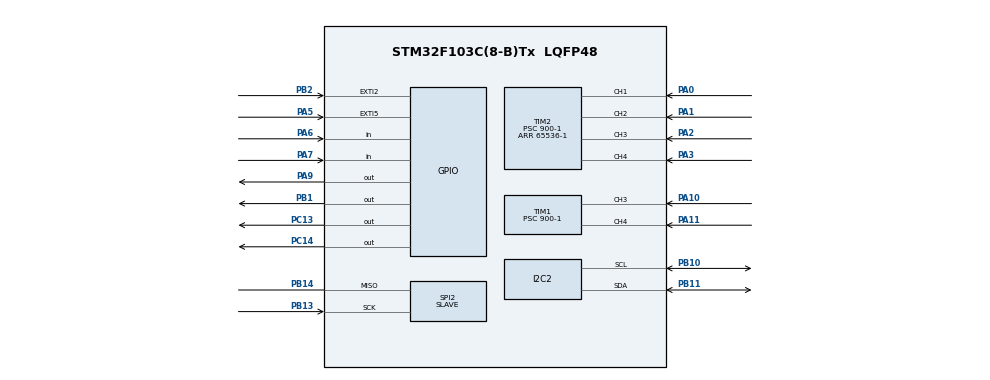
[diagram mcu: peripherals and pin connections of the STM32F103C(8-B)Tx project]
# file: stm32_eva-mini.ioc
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Mcu.Family=STM32F1
Mcu.Name=STM32F103C(8-B)Tx
Mcu.Package=LQFP48
NVIC.PriorityGroup=NVIC_PRIORITYGROUP_4
NVIC.SPI2_IRQn=true\:0\:0\:false\:false\:true\:true\:true\:true
NVIC.TIM1_CC_IRQn=true\:0\:0\:false\:false\:true\:true\:true\:true
NVIC.TIM2_IRQn=true\:0\:0\:false\:false\:true\:true\:true\:true
NVIC.TIM3_IRQn=true\:0\:0\:false\:false\:true\:true\:true\:true
NVIC.TIM4_IRQn=true\:0\:0\:false\:false\:true\:true\:true\:true
PA0-WKUP.Signal=S_TIM2_CH1_ETR
PA1.Signal=S_TIM2_CH2
PA10.Signal=S_TIM1_CH3
PA11.Signal=S_TIM1_CH4
PA13.Mode=Serial_Wire
PA13.Signal=SYS_JTMS-SWDIO
PA14.Mode=Serial_Wire
PA14.Signal=SYS_JTCK-SWCLK
PA2.Signal=S_TIM2_CH3
PA3.Signal=S_TIM2_CH4
PA5.Signal=GPXTI5
PA6.Signal=GPIO_Input
PA7.Signal=GPIO_Input
PA9.Signal=GPIO_Output
PB1.Signal=GPIO_Output
PB10.Mode=I2C
PB10.Signal=I2C2_SCL
PB11.Mode=I2C
PB11.Signal=I2C2_SDA
PB13.Mode=Simplex_Bidirectional_Slave
PB13.Signal=SPI2_SCK
PB14.Mode=Simplex_Bidirectional_Slave
PB14.Signal=SPI2_MISO
PB2.Signal=GPXTI2
PC13-TAMPER-RTC.Signal=GPIO_Output
PC14-OSC32_IN.Signal=GPIO_Output
PD0-OSC_IN.Mode=HSE-External-Oscillator
PD0-OSC_IN.Signal=RCC_OSC_IN
PD1-OSC_OUT.Mode=HSE-External-Oscillator
PD1-OSC_OUT.Signal=RCC_OSC_OUT
ProjectManager.HeapSize=0x200
ProjectManager.StackSize=0x400
ProjectManager.TargetToolchain=MDK-ARM V5.32
RCC.AHBFreq_Value=72000000
RCC.APB1CLKDivider=RCC_HCLK_DIV2
RCC.APB1Freq_Value=36000000
RCC.APB1TimFreq_Value=72000000
RCC.APB2Freq_Value=72000000
RCC.APB2TimFreq_Value=72000000
RCC.HCLKFreq_Value=72000000
RCC.PLLMUL=RCC_PLL_MUL9
RCC.PLLSourceVirtual=RCC_PLLSOURCE_HSE
RCC.SYSCLKFreq_VALUE=72000000
RCC.SYSCLKSource=RCC_SYSCLKSOURCE_PLLCLK
RCC.USBFreq_Value=72000000
SH.S_TIM1_CH3.0=TIM1_CH3,Input_Capture3_from_TI3
SH.S_TIM1_CH4.0=TIM1_CH4,Input_Capture4_from_TI4
SH.S_TIM2_CH1_ETR.0=TIM2_CH1,Input_Capture1_from_TI1
SH.S_TIM2_CH2.0=TIM2_CH2,Input_Capture2_from_TI2
SH.S_TIM2_CH3.0=TIM2_CH3,Input_Capture3_from_TI3
SH.S_TIM2_CH4.0=TIM2_CH4,Input_Capture4_from_TI4
SPI2.Direction=SPI_DIRECTION_1LINE
SPI2.Mode=SPI_MODE_SLAVE
SPI2.VirtualType=VM_SLAVE
TIM1.Channel-Input_Capture3_from_TI3=TIM_CHANNEL_3
TIM1.Channel-Input_Capture4_from_TI4=TIM_CHANNEL_4
TIM1.Period=65536-1
TIM1.Prescaler=900-1
TIM2.Channel-Input_Capture1_from_TI1=TIM_CHANNEL_1
TIM2.Channel-Input_Capture2_from_TI2=TIM_CHANNEL_2
TIM2.Channel-Input_Capture3_from_TI3=TIM_CHANNEL_3
TIM2.Channel-Input_Capture4_from_TI4=TIM_CHANNEL_4
TIM2.Period=65536-1
TIM2.Prescaler=900-1
TIM3.Period=65536-1
TIM3.Prescaler=900-1
TIM4.Period=30000-1
TIM4.Prescaler=24-1
VP_TIM1_VS_ClockSourceINT.Mode=Internal
VP_TIM2_VS_ClockSourceINT.Mode=Internal
VP_TIM3_VS_ClockSourceINT.Mode=Internal
VP_TIM4_VS_ClockSourceINT.Mode=Internal
board=custom

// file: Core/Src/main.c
/* USER CODE BEGIN Header */
/**
  ******************************************************************************
  * @file           : main.c
  * @brief          : Main program body
  ******************************************************************************
  * @attention
  *
  * Copyright (c) 2025 STMicroelectronics.
  * All rights reserved.
  *
  * This software is licensed under terms that can be found in the LICENSE file
  * in the root directory of this software component.
  * If no LICENSE file comes with this software, it is provided AS-IS.
  *
  ******************************************************************************
  */
/* USER CODE END Header */
#include "main.h"

/* USER CODE BEGIN PV */

// General utilities
volatile uint64_t sys_timer = 0;

// Frequency calculation
volatile uint32_t IC_Array32[IC_ARRAY32_SIZE][SENSOR_COUNT_MAX] = {{0}, {0}, {0}};
volatile uint8_t IC_Array8[IC_ARRAY8_SIZE][SENSOR_COUNT_MAX] = {{1}, {1}, {1}, {1}}; // Initialize the 'initial' pos (IC_ARRAY8_POS_CAPTURE_INITIAL) as true

float sensor_frequency[SENSOR_COUNT_MAX] = {0};
uint64_t sensor_last_check_time[SENSOR_COUNT_MAX] = {0};

SENSADDR_TIM_TypeDef* sensor_address_timer[SENSOR_COUNT_MAX] = {
	&(SENSADDR_TIM_TypeDef){TIM2, 3},
	&(SENSADDR_TIM_TypeDef){TIM1, 3},
	&(SENSADDR_TIM_TypeDef){TIM1, 4},
	NULL,
	NULL
};

SENSADDR_GPIO_TypeDef* sensor_address_gpio[SENSOR_COUNT_MAX] = {
	NULL,
	NULL,
	NULL,
	&(SENSADDR_GPIO_TypeDef){GPIOA, LL_GPIO_PIN_6},
	&(SENSADDR_GPIO_TypeDef){GPIOA, LL_GPIO_PIN_7}
};

// MCP23008
uint8_t mcp23_check_required = false, mcp23_check_allowed = false, mcp23_check_result_output, mcp23_check_result_input, mcp23_check_result_success;
uint64_t mcp23_last_check_time = 0;

uint8_t mcp_off_button_counter = 0;
uint64_t mcp_off_button_time = 0;

// CAN
uint8_t can_last_send_success = false, can_should_stop_motor = false;
uint64_t can_last_send_time = 0, can_test_initialization_time = 0;

// UI/Logic
UI_Screen main_screen = {0};
uint8_t main_ui_on = false, ui_update_required = false;
uint8_t switch_to_start_menu_allowed = false, currently_on_start_menu = false;
uint64_t ui_last_update_time = 0, ui_last_callback_time = 0;

Logic_State_Type curr_logic_state = LSTATE_NONE;
uint64_t main_logic_last_tick_time = 0;

uint8_t user_params_differentiate = false;
uint32_t user_params_array[USER_PARAMS_COUNT] = {0};
uint64_t user_params_last_save_time = 0;

uint8_t current_state_seeder_down = false, current_state_bunker_full = false;
float current_can_motor_speed = 0, current_actual_motor_speed = 0, current_fan_speed = 0, current_seeder_speed = 0, current_quota = 0;

uint8_t error_notification_beep_counter[ERROR_COUNT_TOTAL] = {0};
uint8_t error_state_array[ERROR_STATE_ARRAY_COUNT][ERROR_COUNT_TOTAL] = {{0}, {0}, {0}, {0}};
uint64_t error_last_activation_change[ERROR_COUNT_TOTAL] = {0}, error_notification_start_end[ERROR_COUNT_TOTAL] = {0}, error_on_time[ERROR_COUNT_TOTAL] = {0};

// Resources
uint8_t logo_ok_mark[LOGO_OK_MARK_SIZE] = {
	0x1C, 0x00,
  0x22, 0x00,
  0x41, 0x00,
  0xA0, 0x80,
  0xA0, 0x80,
  0x92, 0x80,
  0x94, 0x80,
  0x49, 0x00,
  0x22, 0x00,
  0x1C, 0x00
};

uint8_t logo_question_mark[LOGO_QUESTION_MARK_SIZE] = {
  0xFF, 0x80,
  0x80, 0x80,
  0x9C, 0x80,
  0xA2, 0x80,
  0x84, 0x80,
  0x88, 0x80,
  0x80, 0x80,
  0x88, 0x80,
  0x80, 0x80,
  0xFF, 0x80
};

uint8_t logo_error_alert[LOGO_ERROR_ALERT_SIZE] = {
	0x08, 0x00,
  0x14, 0x00,
  0x14, 0x00,
  0x2A, 0x00,
  0x2A, 0x00,
  0x49, 0x00,
  0x41, 0x00,
  0x88, 0x80,
  0x80, 0x80,
  0xFF, 0x80
};

uint8_t logo_seeder_state[LOGO_SEEDER_STATE_SIZE] = {
	0x1F,
  0x1F,
  0x1F,
  0x0F,
  0x06,
  0x68,
  0x90,
  0x90,
  0x60
};

/* USER CODE END PV */

void SystemClock_Config(void);
static void MX_GPIO_Init(void);
static void MX_I2C2_Init(void);
static void MX_SPI2_Init(void);
static void MX_TIM1_Init(void);
static void MX_TIM2_Init(void);
static void MX_TIM3_Init(void);
static void MX_TIM4_Init(void);

/* USER CODE BEGIN 0 */

void setCurrentLogicState(Logic_State_Type new_state)
{
	if (curr_logic_state != new_state)
	{
		switch(new_state)
		{
			case LSTATE_CAN_TEST: case LSTATE_CAN_PROCEDURE:
				switch_to_start_menu_allowed = false;
				can_test_initialization_time = sys_timer;
				break;
			case LSTATE_MAIN_LOGIC:
				switch_to_start_menu_allowed = true;
				break;
			case LSTATE_NONE:
				can_should_stop_motor = (current_can_motor_speed != 0) || (curr_logic_state == LSTATE_CAN_TEST);
				break;
		}
	}
	curr_logic_state = new_state;
}

void updateErrorState(uint8_t state_pos, uint8_t error_pos, uint8_t value)
{
	if (state_pos >= ERROR_STATE_ARRAY_COUNT || error_pos >= ERROR_COUNT_TOTAL) return;

	if (value && !error_state_array[state_pos][error_pos])
	{
		switch(state_pos)
		{
			case ERROR_STATE_ACTIVE:
				error_on_time[error_pos] = sys_timer; // No break by design
			case ERROR_STATE_PREACTIVE:
				error_last_activation_change[error_pos] = sys_timer; break;
			case ERROR_NOTIFICATION_IN_PROGRESS: case ERROR_NOTIFICATION_COMPLETE:
				error_notification_start_end[error_pos] = sys_timer; error_notification_beep_counter[error_pos] = 0; break;
		}
	}

	error_state_array[state_pos][error_pos] = value;
}

void sendCANPackage(float speed, uint8_t direction)
{
	uint8_t whole_part = floor(speed), fractional_part = round((speed - whole_part)*10); // 1 digit after the dot
	if (fractional_part % 10 != fractional_part)
	{
		fractional_part %= 10;
		whole_part += 1;
	}

	uint8_t speedData[2];
	parseMotorSpeed(direction, fractional_part, whole_part, speedData);

	uint8_t msg[8] = {0};
	setMotorControl(speedData, 0x01700002, msg);

	uint8_t ok = LL_CAN_Send(MOTOR_CAN_ID, msg, true);
	if (ok)
	{
		can_last_send_time = sys_timer;
	}
}

void sequence_turnDisplayOn(uint8_t on)
{
	display_invert(false);
	if (on)
	{
		LL_mDelay(1000);

		gfx_clearBuffer();
		gfx_setTextSize(2);
		gfx_setTextColor(WHITE, WHITE);
		gfx_setCursor(46,24);
		gfx_print("TTZ");
		display_update();
		LL_mDelay(1000);

		gfx_clearBuffer();
		gfx_setTextSize(1);
		gfx_setTextColor(WHITE, WHITE);
		gfx_setCursor(16,20);
		char converted_string[UI_ELEMENT_MAX_CHAR_COUNT] = {0};
		utf8rus("Система контроля", converted_string);
		gfx_print(converted_string);
		gfx_setCursor(40,36);
		gfx_print("Eva-Mini");
		display_update();
		LL_mDelay(1500);

		gfx_clearBuffer();
		UI_BuildStartMenu(&main_screen);
		display_buildUIScreen(&main_screen);

		LL_GPIO_SetOutputPin(SENSOR_POWER_PORT, SENSOR_POWER_PIN); // Turn on the sensors
	}
	else
	{
		ui_clearScreen(&main_screen);
		gfx_clearBuffer();
		display_update();

		LL_GPIO_ResetOutputPin(SENSOR_POWER_PORT, SENSOR_POWER_PIN); // Turn off the sensors
		setCurrentLogicState(LSTATE_NONE);
	}
	main_ui_on = on;
}

/* USER CODE END 0 */

int main(void)
{

  /* MCU Configuration--------------------------------------------------------*/

  /* Reset of all peripherals, Initializes the Flash interface and the Systick. */
  LL_APB2_GRP1_EnableClock(LL_APB2_GRP1_PERIPH_AFIO);
  LL_APB1_GRP1_EnableClock(LL_APB1_GRP1_PERIPH_PWR);

  /* System interrupt init*/
  NVIC_SetPriorityGrouping(NVIC_PRIORITYGROUP_4);

  /* SysTick_IRQn interrupt configuration */
  NVIC_SetPriority(SysTick_IRQn, NVIC_EncodePriority(NVIC_GetPriorityGrouping(),0, 0));

  /** NOJTAG: JTAG-DP Disabled and SW-DP Enabled
  */
  LL_GPIO_AF_Remap_SWJ_NOJTAG();

  /* Configure the system clock */
  SystemClock_Config();

  /* USER CODE BEGIN SysInit */
	SystemCoreClockUpdate();
	LL_Init1msTick(SystemCoreClock);
	LL_SYSTICK_EnableIT();

  /* USER CODE END SysInit */

  /* Initialize all configured peripherals */
  MX_GPIO_Init();
  MX_I2C2_Init();
  MX_SPI2_Init();
  MX_TIM1_Init();
  MX_TIM2_Init();
  MX_TIM3_Init();
  MX_TIM4_Init();
  /* USER CODE BEGIN 2 */

  LL_TIM_EnableIT_UPDATE(TIM1);
  LL_TIM_EnableCounter(TIM1);

  LL_TIM_EnableIT_UPDATE(TIM2);
  LL_TIM_EnableCounter(TIM2);

  LL_TIM_EnableIT_UPDATE(TIM3);
  LL_TIM_EnableCounter(TIM3);

	for (uint8_t i = 0; i < SENSOR_COUNT_MAX; i++)
	{
		if (!((1 << i) & SENSADDR_MASK_TIMS)) continue;
		SENSADDR_TIM_TypeDef* timer_address = sensor_address_timer[i];

		if (timer_address == NULL) continue;
		switch(timer_address->channel)
		{
			case 1:
        LL_TIM_CC_EnableChannel(timer_address->timer, LL_TIM_CHANNEL_CH1);
        LL_TIM_EnableIT_CC1(timer_address->timer);
        break;
			case 2:
        LL_TIM_CC_EnableChannel(timer_address->timer, LL_TIM_CHANNEL_CH2);
        LL_TIM_EnableIT_CC2(timer_address->timer);
        break;
			case 3:
        LL_TIM_CC_EnableChannel(timer_address->timer, LL_TIM_CHANNEL_CH3);
        LL_TIM_EnableIT_CC3(timer_address->timer);
        break;
			case 4:
        LL_TIM_CC_EnableChannel(timer_address->timer, LL_TIM_CHANNEL_CH4);
        LL_TIM_EnableIT_CC4(timer_address->timer);
        break;
		}
	}

	LL_TIM_EnableIT_UPDATE(TIM4);
  LL_TIM_EnableCounter(TIM4);

	ssd1325_begin_default();
	sequence_turnDisplayOn(false);

	LL_CAN_Init(true);
	NVIC_SetPriority(USB_HP_CAN1_TX_IRQn, NVIC_EncodePriority(NVIC_GetPriorityGrouping(),10, 0));
	NVIC_SetPriority(CAN1_SCE_IRQn, NVIC_EncodePriority(NVIC_GetPriorityGrouping(),10, 0));
	NVIC_EnableIRQ(USB_HP_CAN1_TX_IRQn);
	NVIC_EnableIRQ(CAN1_SCE_IRQn);

	LL_I2C_Enable(MCP23008_I2C);
	mcp23008_write_register(MCP23008_REG_IODIR, MCP23008_PINS_SETUP);
	mcp23008_write_register(MCP23008_REG_GPPU, MCP23008_PINS_SETUP);
	mcp23008_write_register(MCP23008_REG_GPINTEN, MCP23008_PINS_SETUP);
	mcp23008_write_register(MCP23008_REG_INTCON, MCP23008_PINS_SETUP);
	mcp23008_write_register(MCP23008_REG_DEFVAL, MCP23008_PINS_SETUP);

	LL_GPIO_ResetOutputPin(GPIOC, LL_GPIO_PIN_13);
	LL_mDelay(100);
	LL_GPIO_SetOutputPin(GPIOC, LL_GPIO_PIN_13);
	LL_mDelay(100);
	LL_GPIO_ResetOutputPin(GPIOC, LL_GPIO_PIN_13);
	LL_mDelay(100);
	LL_GPIO_SetOutputPin(GPIOC, LL_GPIO_PIN_13);
	LL_mDelay(100);
	LL_GPIO_ResetOutputPin(GPIOC, LL_GPIO_PIN_13);
	LL_mDelay(100);
	LL_GPIO_SetOutputPin(GPIOC, LL_GPIO_PIN_13);

	mcp23008_read_register(MCP23008_REG_GPIO);
	NVIC_SetPriority(EXTI2_IRQn, NVIC_EncodePriority(NVIC_GetPriorityGrouping(),10, 0));
	NVIC_EnableIRQ(EXTI2_IRQn);

	restore_user_params_batch();

  /* USER CODE END 2 */

  /* Infinite loop */
  /* USER CODE BEGIN WHILE */
  while (1)
  {
		switch(curr_logic_state)
		{
			case LSTATE_MAIN_LOGIC:
			{
				for (uint8_t sensor_num = 0; sensor_num < SENSOR_COUNT_MAX; sensor_num++)
				{
					if (SENSADDR_MASK_TIMS & (1 << sensor_num))
					{
						if (IC_Array8[IC_ARRAY8_POS_CAPTURE_ERROR][sensor_num] == false && IC_Array8[IC_ARRAY8_POS_CAPTURE_COMPLETE][sensor_num] == true)
						{
							sensor_frequency[sensor_num] = calculate_frequency(sensor_num);
							sensor_last_check_time[sensor_num] = sys_timer;
						}
						else if (sys_timer - sensor_last_check_time[sensor_num] >= SENSOR_VALUE_LOST_TIME)
						{
							sensor_frequency[sensor_num] = 0;
						}
					}
				}

				if (sys_timer - main_logic_last_tick_time >= MAIN_LOGIC_TICK_TIME)
				{
					main_logic_last_tick_time = sys_timer;

					float user_speed_min = getUserParameterFloat(USER_PARAM_SPEED_MIN), user_speed_max = getUserParameterFloat(USER_PARAM_SPEED_MAX),
								current_user_area_session = getUserParameterFloat(USER_PARAM_AREA_SESSION), current_user_area_total = getUserParameterFloat(USER_PARAM_AREA_TOTAL);
					uint32_t user_wheel_diameter = getUserParameterInt(USER_PARAM_WHEEL_DIAMETER), user_wheel_pulses = getUserParameterInt(USER_PARAM_WHEEL_PULSES),
									 user_fan_speed_min = getUserParameterInt(USER_PARAM_FAN_SPEED_MIN), user_fan_speed_max = getUserParameterInt(USER_PARAM_FAN_SPEED_MAX),
									 user_fan_pulses = getUserParameterInt(USER_PARAM_FAN_PULSES), user_seeder_width = getUserParameterInt(USER_PARAM_SEEDER_WIDTH),
									 user_quota = getUserParameterInt(USER_PARAM_QUOTA), user_mass_per_turn = getUserParameterInt(USER_PARAM_MASS_PER_TURN);

					SENSADDR_GPIO_TypeDef *seeder_sensor_addr = sensor_address_gpio[SENSADDR_POS_SEEDER], *bunker_sensor_addr = sensor_address_gpio[SENSADDR_POS_BUNKER];
					uint8_t bunker_sensor_output = LL_GPIO_IsInputPinSet(bunker_sensor_addr->port, bunker_sensor_addr->pin_mask), seeder_sensor_output = LL_GPIO_IsInputPinSet(seeder_sensor_addr->port, seeder_sensor_addr->pin_mask);
					// Each sensor goes through an optocoupler (with a pull up on the MCU's side), so the logic is inversed
					current_state_seeder_down = (SENSOR_TYPE_SEEDER_NPN)? seeder_sensor_output : !seeder_sensor_output;
					current_state_bunker_full = (SENSOR_TYPE_BUNKER_NPN)? bunker_sensor_output : !bunker_sensor_output;

					float prev_seeder_speed = current_seeder_speed;

					current_fan_speed = calculateFanSpeed_fromSensorOutput(user_fan_pulses, sensor_frequency[SENSADDR_POS_FAN]);
					current_seeder_speed = calculateSeederSpeed_fromSensorOutput(user_wheel_diameter, user_wheel_pulses, sensor_frequency[SENSADDR_POS_SPEED]);

					current_actual_motor_speed = 0;
					current_quota = 0;
					if (current_state_seeder_down)
					{
						current_actual_motor_speed = sensor_frequency[SENSADDR_POS_MOTOR] * SECONDS_IN_MINUTE;

						float calculation_motor_speed = current_can_motor_speed;
						if (error_state_array[ERROR_STATE_ACTIVE][ERROR_TYPE_CAN])
						{
							calculation_motor_speed = 0;
						}

						if (!error_state_array[ERROR_STATE_ACTIVE][ERROR_TYPE_EMPTY])
						{
							current_quota = calculateQuota_fromSpeed(user_seeder_width, current_seeder_speed, user_mass_per_turn, calculation_motor_speed);
						}
					}

					// Main logic (if the setup was completed)
					if (checkIfSeederParamsAreSet() && checkIfOtherParamsAreSet())
					{
						updateErrorState(ERROR_STATE_PREACTIVE, ERROR_TYPE_EMPTY, !current_state_bunker_full);

						uint8_t fan_speed_check_ok = (current_fan_speed <= user_fan_speed_max && current_fan_speed >= user_fan_speed_min);
						updateErrorState(ERROR_STATE_PREACTIVE, ERROR_TYPE_FAN, !fan_speed_check_ok);

						if (current_state_seeder_down && (sys_timer - can_last_send_time) > CAN_TRANSMISSION_INTERVAL)
						{
							uint8_t motor_speed_check_ok = ( current_actual_motor_speed >= calculateMotorSpeed_fromSpeed(user_quota, user_seeder_width, user_mass_per_turn, SENSOR_VALUE_SPEED_BORDER_MIN) );
							updateErrorState(ERROR_STATE_PREACTIVE, ERROR_TYPE_MOTOR, !motor_speed_check_ok && !error_state_array[ERROR_STATE_ACTIVE][ERROR_TYPE_CAN]);

							uint8_t seeder_speed_check_ok = (current_seeder_speed <= user_speed_max && current_seeder_speed >= user_speed_min);
							current_can_motor_speed = calculateMotorSpeed_fromSpeed(user_quota, user_seeder_width, user_mass_per_turn, current_seeder_speed);
							if (!performMotorSpeedCheck(current_can_motor_speed))
							{
								current_can_motor_speed = (current_can_motor_speed > MOTOR_SPEED_LIMIT_MAX) ? MOTOR_SPEED_LIMIT_MAX : MOTOR_SPEED_LIMIT_MIN;
							}
							updateErrorState(ERROR_STATE_PREACTIVE, ERROR_TYPE_SPEED, !seeder_speed_check_ok);

							float low_border = (float)user_quota * (100 - SENSOR_VALUE_QUOTA_ALLOWED_DEVIATION)/100, high_border = (float)user_quota * (100 + SENSOR_VALUE_QUOTA_ALLOWED_DEVIATION)/100;
							uint8_t quota_check_ok = (current_quota >= low_border && current_quota <= high_border);
							updateErrorState(ERROR_STATE_PREACTIVE, ERROR_TYPE_QUOTA, !quota_check_ok);

							sendCANPackage(current_can_motor_speed, MOTOR_TURN_DIRECTION);
						}

						if (current_state_seeder_down)
						{
							float area_addition = calculateAreaAddition_fromSpeed(prev_seeder_speed, current_seeder_speed, MAIN_LOGIC_TICK_TIME, user_seeder_width);
							if (current_quota < user_quota)
							{
								area_addition *= current_quota / (float)user_quota;
							}

							if (area_addition != 0)
							{
								setUserParameterFloat(USER_PARAM_AREA_TOTAL, current_user_area_total + area_addition);
								setUserParameterFloat(USER_PARAM_AREA_SESSION, current_user_area_session + area_addition);
							}
						}
					}
				}
			}
			break;
			case LSTATE_CAN_PROCEDURE:
			{
				if ((sys_timer - can_last_send_time) > CAN_TRANSMISSION_INTERVAL)
				{
					sendCANPackage(current_can_motor_speed, MOTOR_TURN_DIRECTION);
				}
			}
			break;
			case LSTATE_CAN_TEST:
			{
				if ((sys_timer - can_last_send_time) > CAN_TRANSMISSION_INTERVAL)
				{
					if ((sys_timer - can_test_initialization_time) >= (SECONDS_IN_MINUTE * MILLIS_IN_SECOND / MOTOR_DEFAULT_SPEED_EMPTY))
					{
						setCurrentLogicState(LSTATE_NONE);
					}
					else
					{
						sendCANPackage(MOTOR_DEFAULT_SPEED_EMPTY, MOTOR_TURN_DIRECTION);
					}
				}
			}
			break;
			case LSTATE_NONE:
			{
				if (can_should_stop_motor && (sys_timer - can_last_send_time) > CAN_TRANSMISSION_INTERVAL)
				{
					current_can_motor_speed = 0;
					sendCANPackage(0, MOTOR_TURN_DIRECTION);
					can_should_stop_motor = false;
				}
				else if ((sys_timer - can_test_initialization_time) > 1 * MILLIS_IN_SECOND && (sys_timer - can_last_send_time) > 3 * MILLIS_IN_SECOND)
				{
					switch_to_start_menu_allowed = true;
				}
			}
			break;
		}

		if (mcp23_check_required && (sys_timer - mcp23_last_check_time) >= MCP23008_DEBOUNCE_WAIT_TIME)
		{
			mcp23008_matrix_check();
			if (mcp23_check_result_success)
			{
				uint8_t matrix_pos = mcp23_check_result_input * 10 + mcp23_check_result_output * 1;
				switch(matrix_pos)
				{
					case MATRIX_POS_BUTTON_DOWN:
						UI_PerformUserInteraction(&main_screen, PRESS_TYPE_DOWN);
						ui_update_required = true;
						break;
					case MATRIX_POS_BUTTON_UP:
						UI_PerformUserInteraction(&main_screen, PRESS_TYPE_UP);
						ui_update_required = true;
						break;
					case MATRIX_POS_BUTTON_OK:
						UI_PerformUserInteraction(&main_screen, PRESS_TYPE_OK);
						ui_update_required = true;
						break;
					case MATRIX_POS_BUTTON_MENU:
						if (switch_to_start_menu_allowed && !currently_on_start_menu)
						{
							UI_BuildStartMenu(&main_screen);
							ui_update_required = true;
						}
						break;
					case MATRIX_POS_BUTTON_POWER:
						if (!main_ui_on)
						{
							if (sys_timer - mcp_off_button_time >= 1 * MILLIS_IN_SECOND)
							{
								sequence_turnDisplayOn(true);
								mcp_off_button_counter = 0;
							}
						}
						else
						{
							if (sys_timer - mcp_off_button_time > (MCP23008_BUTTON_CHECK_TIME + 25))
							{
								mcp_off_button_counter = 0;
							}
							mcp_off_button_counter++;
							mcp_off_button_time = sys_timer;

							if (mcp_off_button_counter >= 10)
							{
								if (user_params_differentiate)
								{
									save_user_params_batch();
								}
								sequence_turnDisplayOn(false);
								mcp_off_button_counter = 0;
							}
						}
						break;
				}
			}
		}

    /* USER CODE END WHILE */

    /* USER CODE BEGIN 3 */
		if (!mcp23_check_allowed)
		{
			if ((sys_timer - mcp23_last_check_time) >= MCP23008_BUTTON_CHECK_TIME)
			{
				mcp23_check_allowed = true;
				mcp23008_read_register(MCP23008_REG_GPIO);
			}
		}

		if ( (sys_timer - ui_last_update_time) >= (1000 / UI_UPDATE_MAX_FREQUENCY) && ui_update_required && main_ui_on )
		{
			display_buildUIScreen(&main_screen);
			ui_update_required = false;
		}
  }
  /* USER CODE END 3 */
}

void SystemClock_Config(void)
{
  LL_FLASH_SetLatency(LL_FLASH_LATENCY_2);
  while(LL_FLASH_GetLatency()!= LL_FLASH_LATENCY_2)
  {
  }
  LL_RCC_HSE_Enable();

   /* Wait till HSE is ready */
  while(LL_RCC_HSE_IsReady() != 1)
  {

  }
  LL_RCC_PLL_ConfigDomain_SYS(LL_RCC_PLLSOURCE_HSE_DIV_1, LL_RCC_PLL_MUL_9);
  LL_RCC_PLL_Enable();

   /* Wait till PLL is ready */
  while(LL_RCC_PLL_IsReady() != 1)
  {

  }
  LL_RCC_SetAHBPrescaler(LL_RCC_SYSCLK_DIV_1);
  LL_RCC_SetAPB1Prescaler(LL_RCC_APB1_DIV_2);
  LL_RCC_SetAPB2Prescaler(LL_RCC_APB2_DIV_1);
  LL_RCC_SetSysClkSource(LL_RCC_SYS_CLKSOURCE_PLL);

   /* Wait till System clock is ready */
  while(LL_RCC_GetSysClkSource() != LL_RCC_SYS_CLKSOURCE_STATUS_PLL)
  {

  }
  LL_Init1msTick(72000000);
  LL_SetSystemCoreClock(72000000);
}

static void MX_I2C2_Init(void)
{

  LL_I2C_InitTypeDef I2C_InitStruct = {0};

  LL_GPIO_InitTypeDef GPIO_InitStruct = {0};

  LL_APB2_GRP1_EnableClock(LL_APB2_GRP1_PERIPH_GPIOB);
  /**I2C2 GPIO Configuration
  PB10   ------> I2C2_SCL
  PB11   ------> I2C2_SDA
  */
  GPIO_InitStruct.Pin = LL_GPIO_PIN_10|LL_GPIO_PIN_11;
  GPIO_InitStruct.Mode = LL_GPIO_MODE_ALTERNATE;
  GPIO_InitStruct.Speed = LL_GPIO_SPEED_FREQ_HIGH;
  GPIO_InitStruct.OutputType = LL_GPIO_OUTPUT_OPENDRAIN;
  LL_GPIO_Init(GPIOB, &GPIO_InitStruct);

  /* Peripheral clock enable */
  LL_APB1_GRP1_EnableClock(LL_APB1_GRP1_PERIPH_I2C2);

  /** I2C Initialization
  */
  LL_I2C_DisableOwnAddress2(I2C2);
  LL_I2C_DisableGeneralCall(I2C2);
  LL_I2C_EnableClockStretching(I2C2);
  I2C_InitStruct.PeripheralMode = LL_I2C_MODE_I2C;
  I2C_InitStruct.ClockSpeed = 100000;
  I2C_InitStruct.DutyCycle = LL_I2C_DUTYCYCLE_2;
  I2C_InitStruct.OwnAddress1 = 0;
  I2C_InitStruct.TypeAcknowledge = LL_I2C_ACK;
  I2C_InitStruct.OwnAddrSize = LL_I2C_OWNADDRESS1_7BIT;
  LL_I2C_Init(I2C2, &I2C_InitStruct);
  LL_I2C_SetOwnAddress2(I2C2, 0);

}

static void MX_SPI2_Init(void)
{

  LL_SPI_InitTypeDef SPI_InitStruct = {0};

  LL_GPIO_InitTypeDef GPIO_InitStruct = {0};

  /* Peripheral clock enable */
  LL_APB1_GRP1_EnableClock(LL_APB1_GRP1_PERIPH_SPI2);

  LL_APB2_GRP1_EnableClock(LL_APB2_GRP1_PERIPH_GPIOB);
  /**SPI2 GPIO Configuration
  PB13   ------> SPI2_SCK
  PB14   ------> SPI2_MISO
  */
  GPIO_InitStruct.Pin = LL_GPIO_PIN_13;
  GPIO_InitStruct.Mode = LL_GPIO_MODE_FLOATING;
  LL_GPIO_Init(GPIOB, &GPIO_InitStruct);

  GPIO_InitStruct.Pin = LL_GPIO_PIN_14;
  GPIO_InitStruct.Mode = LL_GPIO_MODE_ALTERNATE;
  GPIO_InitStruct.Speed = LL_GPIO_SPEED_FREQ_HIGH;
  GPIO_InitStruct.OutputType = LL_GPIO_OUTPUT_PUSHPULL;
  LL_GPIO_Init(GPIOB, &GPIO_InitStruct);

  /* SPI2 interrupt Init */
  NVIC_SetPriority(SPI2_IRQn, NVIC_EncodePriority(NVIC_GetPriorityGrouping(),10, 0));
  NVIC_EnableIRQ(SPI2_IRQn);

  /* SPI2 parameter configuration*/
  SPI_InitStruct.TransferDirection = LL_SPI_HALF_DUPLEX_RX;
  SPI_InitStruct.Mode = LL_SPI_MODE_SLAVE;
  SPI_InitStruct.DataWidth = LL_SPI_DATAWIDTH_8BIT;
  SPI_InitStruct.ClockPolarity = LL_SPI_POLARITY_LOW;
  SPI_InitStruct.ClockPhase = LL_SPI_PHASE_1EDGE;
  SPI_InitStruct.NSS = LL_SPI_NSS_SOFT;
  SPI_InitStruct.BitOrder = LL_SPI_MSB_FIRST;
  SPI_InitStruct.CRCCalculation = LL_SPI_CRCCALCULATION_DISABLE;
  SPI_InitStruct.CRCPoly = 10;
  LL_SPI_Init(SPI2, &SPI_InitStruct);

}

static void MX_TIM1_Init(void)
{

  LL_TIM_InitTypeDef TIM_InitStruct = {0};

  LL_GPIO_InitTypeDef GPIO_InitStruct = {0};

  /* Peripheral clock enable */
  LL_APB2_GRP1_EnableClock(LL_APB2_GRP1_PERIPH_TIM1);

  LL_APB2_GRP1_EnableClock(LL_APB2_GRP1_PERIPH_GPIOA);
  /**TIM1 GPIO Configuration
  PA10   ------> TIM1_CH3
  PA11   ------> TIM1_CH4
  */
  GPIO_InitStruct.Pin = LL_GPIO_PIN_10|LL_GPIO_PIN_11;
  GPIO_InitStruct.Mode = LL_GPIO_MODE_INPUT;
  LL_GPIO_Init(GPIOA, &GPIO_InitStruct);

  /* TIM1 interrupt Init */
  NVIC_SetPriority(TIM1_CC_IRQn, NVIC_EncodePriority(NVIC_GetPriorityGrouping(),5, 0));
  NVIC_EnableIRQ(TIM1_CC_IRQn);

  TIM_InitStruct.Prescaler = 1800-1;
  TIM_InitStruct.CounterMode = LL_TIM_COUNTERMODE_UP;
  TIM_InitStruct.Autoreload = 65536-1;
  TIM_InitStruct.ClockDivision = LL_TIM_CLOCKDIVISION_DIV1;
  TIM_InitStruct.RepetitionCounter = 0;
  LL_TIM_Init(TIM1, &TIM_InitStruct);
  LL_TIM_DisableARRPreload(TIM1);
  LL_TIM_SetClockSource(TIM1, LL_TIM_CLOCKSOURCE_INTERNAL);
  LL_TIM_SetTriggerOutput(TIM1, LL_TIM_TRGO_RESET);
  LL_TIM_DisableMasterSlaveMode(TIM1);
  LL_TIM_IC_SetActiveInput(TIM1, LL_TIM_CHANNEL_CH3, LL_TIM_ACTIVEINPUT_DIRECTTI);
  LL_TIM_IC_SetPrescaler(TIM1, LL_TIM_CHANNEL_CH3, LL_TIM_ICPSC_DIV1);
  LL_TIM_IC_SetFilter(TIM1, LL_TIM_CHANNEL_CH3, LL_TIM_IC_FILTER_FDIV1);
  LL_TIM_IC_SetPolarity(TIM1, LL_TIM_CHANNEL_CH3, LL_TIM_IC_POLARITY_RISING);
  LL_TIM_IC_SetActiveInput(TIM1, LL_TIM_CHANNEL_CH4, LL_TIM_ACTIVEINPUT_DIRECTTI);
  LL_TIM_IC_SetPrescaler(TIM1, LL_TIM_CHANNEL_CH4, LL_TIM_ICPSC_DIV1);
  LL_TIM_IC_SetFilter(TIM1, LL_TIM_CHANNEL_CH4, LL_TIM_IC_FILTER_FDIV1);
  LL_TIM_IC_SetPolarity(TIM1, LL_TIM_CHANNEL_CH4, LL_TIM_IC_POLARITY_RISING);

}

static void MX_TIM2_Init(void)
{

  LL_TIM_InitTypeDef TIM_InitStruct = {0};

  LL_GPIO_InitTypeDef GPIO_InitStruct = {0};

  /* Peripheral clock enable */
  LL_APB1_GRP1_EnableClock(LL_APB1_GRP1_PERIPH_TIM2);

  LL_APB2_GRP1_EnableClock(LL_APB2_GRP1_PERIPH_GPIOA);
  /**TIM2 GPIO Configuration
  PA0-WKUP   ------> TIM2_CH1
  PA1   ------> TIM2_CH2
  PA2   ------> TIM2_CH3
  PA3   ------> TIM2_CH4
  */
  GPIO_InitStruct.Pin = LL_GPIO_PIN_0|LL_GPIO_PIN_1|LL_GPIO_PIN_2|LL_GPIO_PIN_3;
  GPIO_InitStruct.Mode = LL_GPIO_MODE_INPUT;
  LL_GPIO_Init(GPIOA, &GPIO_InitStruct);

  /* TIM2 interrupt Init */
  NVIC_SetPriority(TIM2_IRQn, NVIC_EncodePriority(NVIC_GetPriorityGrouping(),5, 0));
  NVIC_EnableIRQ(TIM2_IRQn);

  TIM_InitStruct.Prescaler = 1800-1;
  TIM_InitStruct.CounterMode = LL_TIM_COUNTERMODE_UP;
  TIM_InitStruct.Autoreload = 65536-1;
  TIM_InitStruct.ClockDivision = LL_TIM_CLOCKDIVISION_DIV1;
  LL_TIM_Init(TIM2, &TIM_InitStruct);
  LL_TIM_DisableARRPreload(TIM2);
  LL_TIM_SetClockSource(TIM2, LL_TIM_CLOCKSOURCE_INTERNAL);
  LL_TIM_SetTriggerOutput(TIM2, LL_TIM_TRGO_RESET);
  LL_TIM_DisableMasterSlaveMode(TIM2);
  LL_TIM_IC_SetActiveInput(TIM2, LL_TIM_CHANNEL_CH1, LL_TIM_ACTIVEINPUT_DIRECTTI);
  LL_TIM_IC_SetPrescaler(TIM2, LL_TIM_CHANNEL_CH1, LL_TIM_ICPSC_DIV1);
  LL_TIM_IC_SetFilter(TIM2, LL_TIM_CHANNEL_CH1, LL_TIM_IC_FILTER_FDIV1);
  LL_TIM_IC_SetPolarity(TIM2, LL_TIM_CHANNEL_CH1, LL_TIM_IC_POLARITY_RISING);
  LL_TIM_IC_SetActiveInput(TIM2, LL_TIM_CHANNEL_CH2, LL_TIM_ACTIVEINPUT_DIRECTTI);
  LL_TIM_IC_SetPrescaler(TIM2, LL_TIM_CHANNEL_CH2, LL_TIM_ICPSC_DIV1);
  LL_TIM_IC_SetFilter(TIM2, LL_TIM_CHANNEL_CH2, LL_TIM_IC_FILTER_FDIV1);
  LL_TIM_IC_SetPolarity(TIM2, LL_TIM_CHANNEL_CH2, LL_TIM_IC_POLARITY_RISING);
  LL_TIM_IC_SetActiveInput(TIM2, LL_TIM_CHANNEL_CH3, LL_TIM_ACTIVEINPUT_DIRECTTI);
  LL_TIM_IC_SetPrescaler(TIM2, LL_TIM_CHANNEL_CH3, LL_TIM_ICPSC_DIV1);
  LL_TIM_IC_SetFilter(TIM2, LL_TIM_CHANNEL_CH3, LL_TIM_IC_FILTER_FDIV1);
  LL_TIM_IC_SetPolarity(TIM2, LL_TIM_CHANNEL_CH3, LL_TIM_IC_POLARITY_RISING);
  LL_TIM_IC_SetActiveInput(TIM2, LL_TIM_CHANNEL_CH4, LL_TIM_ACTIVEINPUT_DIRECTTI);
  LL_TIM_IC_SetPrescaler(TIM2, LL_TIM_CHANNEL_CH4, LL_TIM_ICPSC_DIV1);
  LL_TIM_IC_SetFilter(TIM2, LL_TIM_CHANNEL_CH4, LL_TIM_IC_FILTER_FDIV1);
  LL_TIM_IC_SetPolarity(TIM2, LL_TIM_CHANNEL_CH4, LL_TIM_IC_POLARITY_RISING);

}

static void MX_TIM3_Init(void)
{

  LL_TIM_InitTypeDef TIM_InitStruct = {0};

  /* Peripheral clock enable */
  LL_APB1_GRP1_EnableClock(LL_APB1_GRP1_PERIPH_TIM3);

  /* TIM3 interrupt Init */
  NVIC_SetPriority(TIM3_IRQn, NVIC_EncodePriority(NVIC_GetPriorityGrouping(),5, 0));
  NVIC_EnableIRQ(TIM3_IRQn);

  TIM_InitStruct.Prescaler = 1800-1;
  TIM_InitStruct.CounterMode = LL_TIM_COUNTERMODE_UP;
  TIM_InitStruct.Autoreload = 65536-1;
  TIM_InitStruct.ClockDivision = LL_TIM_CLOCKDIVISION_DIV1;
  LL_TIM_Init(TIM3, &TIM_InitStruct);
  LL_TIM_DisableARRPreload(TIM3);
  LL_TIM_SetClockSource(TIM3, LL_TIM_CLOCKSOURCE_INTERNAL);
  LL_TIM_SetTriggerOutput(TIM3, LL_TIM_TRGO_RESET);
  LL_TIM_DisableMasterSlaveMode(TIM3);

}

static void MX_TIM4_Init(void)
{

  LL_TIM_InitTypeDef TIM_InitStruct = {0};

  /* Peripheral clock enable */
  LL_APB1_GRP1_EnableClock(LL_APB1_GRP1_PERIPH_TIM4);

  /* TIM4 interrupt Init */
  NVIC_SetPriority(TIM4_IRQn, NVIC_EncodePriority(NVIC_GetPriorityGrouping(),5, 0));
  NVIC_EnableIRQ(TIM4_IRQn);

  TIM_InitStruct.Prescaler = 24-1;
  TIM_InitStruct.CounterMode = LL_TIM_COUNTERMODE_UP;
  TIM_InitStruct.Autoreload = 30000-1;
  TIM_InitStruct.ClockDivision = LL_TIM_CLOCKDIVISION_DIV1;
  LL_TIM_Init(TIM4, &TIM_InitStruct);
  LL_TIM_DisableARRPreload(TIM4);
  LL_TIM_SetClockSource(TIM4, LL_TIM_CLOCKSOURCE_INTERNAL);
  LL_TIM_SetTriggerOutput(TIM4, LL_TIM_TRGO_RESET);
  LL_TIM_DisableMasterSlaveMode(TIM4);

}

static void MX_GPIO_Init(void)
{
  LL_EXTI_InitTypeDef EXTI_InitStruct = {0};
  LL_GPIO_InitTypeDef GPIO_InitStruct = {0};

  /* GPIO Ports Clock Enable */
  LL_APB2_GRP1_EnableClock(LL_APB2_GRP1_PERIPH_GPIOC);
  LL_APB2_GRP1_EnableClock(LL_APB2_GRP1_PERIPH_GPIOD);
  LL_APB2_GRP1_EnableClock(LL_APB2_GRP1_PERIPH_GPIOA);
  LL_APB2_GRP1_EnableClock(LL_APB2_GRP1_PERIPH_GPIOB);

  /**/
  LL_GPIO_ResetOutputPin(GPIOC, LL_GPIO_PIN_13|LL_GPIO_PIN_14);

  /**/
  LL_GPIO_ResetOutputPin(GPIOB, LL_GPIO_PIN_1);

  /**/
  LL_GPIO_ResetOutputPin(GPIOA, LL_GPIO_PIN_9);

  /**/
  GPIO_InitStruct.Pin = LL_GPIO_PIN_13|LL_GPIO_PIN_14;
  GPIO_InitStruct.Mode = LL_GPIO_MODE_OUTPUT;
  GPIO_InitStruct.Speed = LL_GPIO_SPEED_FREQ_LOW;
  GPIO_InitStruct.OutputType = LL_GPIO_OUTPUT_PUSHPULL;
  LL_GPIO_Init(GPIOC, &GPIO_InitStruct);

  /**/
  GPIO_InitStruct.Pin = LL_GPIO_PIN_6|LL_GPIO_PIN_7;
  GPIO_InitStruct.Mode = LL_GPIO_MODE_FLOATING;
  LL_GPIO_Init(GPIOA, &GPIO_InitStruct);

  /**/
  GPIO_InitStruct.Pin = LL_GPIO_PIN_1;
  GPIO_InitStruct.Mode = LL_GPIO_MODE_OUTPUT;
  GPIO_InitStruct.Speed = LL_GPIO_SPEED_FREQ_LOW;
  GPIO_InitStruct.OutputType = LL_GPIO_OUTPUT_PUSHPULL;
  LL_GPIO_Init(GPIOB, &GPIO_InitStruct);

  /**/
  GPIO_InitStruct.Pin = LL_GPIO_PIN_9;
  GPIO_InitStruct.Mode = LL_GPIO_MODE_OUTPUT;
  GPIO_InitStruct.Speed = LL_GPIO_SPEED_FREQ_LOW;
  GPIO_InitStruct.OutputType = LL_GPIO_OUTPUT_PUSHPULL;
  LL_GPIO_Init(GPIOA, &GPIO_InitStruct);

  /**/
  LL_GPIO_AF_SetEXTISource(LL_GPIO_AF_EXTI_PORTA, LL_GPIO_AF_EXTI_LINE5);

  /**/
  LL_GPIO_AF_SetEXTISource(LL_GPIO_AF_EXTI_PORTB, LL_GPIO_AF_EXTI_LINE2);

  /**/
  EXTI_InitStruct.Line_0_31 = LL_EXTI_LINE_5;
  EXTI_InitStruct.LineCommand = ENABLE;
  EXTI_InitStruct.Mode = LL_EXTI_MODE_IT;
  EXTI_InitStruct.Trigger = LL_EXTI_TRIGGER_RISING_FALLING;
  LL_EXTI_Init(&EXTI_InitStruct);

  /**/
  EXTI_InitStruct.Line_0_31 = LL_EXTI_LINE_2;
  EXTI_InitStruct.LineCommand = ENABLE;
  EXTI_InitStruct.Mode = LL_EXTI_MODE_IT;
  EXTI_InitStruct.Trigger = LL_EXTI_TRIGGER_FALLING;
  LL_EXTI_Init(&EXTI_InitStruct);

  /**/
  LL_GPIO_SetPinMode(GPIOA, LL_GPIO_PIN_5, LL_GPIO_MODE_INPUT);
	LL_GPIO_SetPinPull(GPIOA, LL_GPIO_PIN_5, LL_GPIO_PULL_UP);

  /**/
  LL_GPIO_SetPinMode(GPIOB, LL_GPIO_PIN_2, LL_GPIO_MODE_INPUT);
	LL_GPIO_SetPinPull(GPIOB, LL_GPIO_PIN_2, LL_GPIO_PULL_UP);

}

void Error_Handler(void)
{
  __disable_irq();
  while (1)
  {
  }
}
